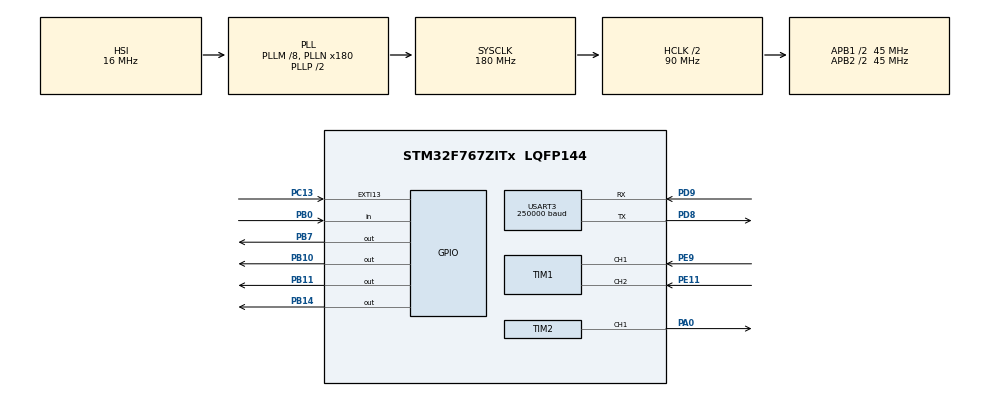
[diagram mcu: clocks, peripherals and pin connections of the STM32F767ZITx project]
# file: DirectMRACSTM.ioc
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CORTEX_M7.default_mode_Activation=1
FREERTOS.Mutexes01=measureMutex,Dynamic,NULL,Available;controlMutex,Dynamic,NULL,Available;publish_mutex,Dynamic,NULL,Available
FREERTOS.Tasks01=measureTask,24,512,measure,Default,NULL,Dynamic,NULL,NULL;Control,8,1024,controlLoop,Default,NULL,Dynamic,NULL,NULL;publish,8,1024,publish_data,Default,NULL,Dynamic,NULL,NULL
FREERTOS.configENABLE_FPU=1
Mcu.Family=STM32F7
Mcu.Name=STM32F767ZITx
Mcu.Package=LQFP144
NVIC.PriorityGroup=NVIC_PRIORITYGROUP_4
NVIC.TIM5_IRQn=true\:15\:0\:false\:false\:true\:false\:false\:true\:true
NVIC.TimeBase=TIM5_IRQn
NVIC.TimeBaseIP=TIM5
PA0/WKUP.Signal=S_TIM2_CH1_ETR
PA13.Mode=Serial_Wire
PA13.Signal=SYS_JTMS-SWDIO
PA14.Mode=Serial_Wire
PA14.Signal=SYS_JTCK-SWCLK
PB0.Signal=GPIO_Input
PB10.Signal=GPIO_Output
PB11.Signal=GPIO_Output
PB14.Signal=GPIO_Output
PB7.Signal=GPIO_Output
PC13.Signal=GPXTI13
PD8.Mode=Asynchronous
PD8.Signal=USART3_TX
PD9.Mode=Asynchronous
PD9.Signal=USART3_RX
PE11.Signal=S_TIM1_CH2
PE9.Signal=S_TIM1_CH1
ProjectManager.HeapSize=0x200
ProjectManager.StackSize=0x400
ProjectManager.TargetToolchain=CMake
RCC.AHBCLKDivider=RCC_SYSCLK_DIV2
RCC.AHBFreq_Value=90000000
RCC.APB1CLKDivider=RCC_HCLK_DIV2
RCC.APB1Freq_Value=45000000
RCC.APB1TimFreq_Value=90000000
RCC.APB2CLKDivider=RCC_HCLK_DIV2
RCC.APB2Freq_Value=45000000
RCC.APB2TimFreq_Value=90000000
RCC.CortexFreq_Value=90000000
RCC.HCLKFreq_Value=90000000
RCC.HSE_VALUE=25000000
RCC.HSI_VALUE=16000000
RCC.LSE_VALUE=32768
RCC.PLLM=8
RCC.PLLN=180
RCC.SYSCLKFreq_VALUE=180000000
RCC.SYSCLKSource=RCC_SYSCLKSOURCE_PLLCLK
RCC.USBFreq_Value=180000000
RCC.VCOOutputFreq_Value=360000000
SH.S_TIM1_CH1.0=TIM1_CH1,Encoder_Interface
SH.S_TIM1_CH2.0=TIM1_CH2,Encoder_Interface
SH.S_TIM2_CH1_ETR.0=TIM2_CH1,PWM Generation1 CH1
TIM1.EncoderMode=TIM_ENCODERMODE_TI12
TIM2.Channel-PWM\ Generation1\ CH1=TIM_CHANNEL_1
TIM2.Period=999
TIM2.Prescaler=89
USART3.BaudRate=250000
USART3.VirtualMode-Asynchronous=VM_ASYNC
VP_FREERTOS_VS_CMSIS_V2.Mode=CMSIS_V2
VP_SYS_VS_tim5.Mode=TIM5
board=custom

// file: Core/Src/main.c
/* USER CODE BEGIN Header */
/**
  ******************************************************************************
  * @file           : main.c
  * @brief          : Main program body
  ******************************************************************************
  * @attention
  *
  * Copyright (c) 2026 STMicroelectronics.
  * All rights reserved.
  *
  * This software is licensed under terms that can be found in the LICENSE file
  * in the root directory of this software component.
  * If no LICENSE file comes with this software, it is provided AS-IS.
  *
  ******************************************************************************
  */
/* USER CODE END Header */
#include "main.h"
#include "cmsis_os.h"

/* USER CODE BEGIN Includes */
#include "controller.h"
#include "portmacro.h"
#include "serial_com.h"
#include <stdio.h>
#include <string.h>
#include <stdlib.h>
#include <stdbool.h>
#include "MRAC.h"
/* USER CODE END Includes */

/* USER CODE BEGIN PTD */
serial_com com;
filter spf;
filter opf;
filter upf;
float setpoint = 60.0f;
float dt = 0.001f;
float _time = 0.0f;
char msg[100];
bool publish_flag = false;
float setpoint_time = 0.0f;
float setpoint_period = 2.0f; // 0.5 Hz = 2 second period
uint64_t actual_dt = 0;
MRAC mrac;
TF_model P_ref;
/* USER CODE END PTD */

TIM_HandleTypeDef htim1;
TIM_HandleTypeDef htim2;

UART_HandleTypeDef huart3;

/* Definitions for measureTask */
osThreadId_t measureTaskHandle;
const osThreadAttr_t measureTask_attributes = {
  .name = "measureTask",
  .stack_size = 512 * 4,
  .priority = (osPriority_t) osPriorityNormal,
};
/* Definitions for Control */
osThreadId_t ControlHandle;
const osThreadAttr_t Control_attributes = {
  .name = "Control",
  .stack_size = 1024 * 4,
  .priority = (osPriority_t) osPriorityLow,
};
/* Definitions for publish */
osThreadId_t publishHandle;
const osThreadAttr_t publish_attributes = {
  .name = "publish",
  .stack_size = 1024 * 4,
  .priority = (osPriority_t) osPriorityLow,
};
/* Definitions for measureMutex */
osMutexId_t measureMutexHandle;
const osMutexAttr_t measureMutex_attributes = {
  .name = "measureMutex"
};
/* Definitions for controlMutex */
osMutexId_t controlMutexHandle;
const osMutexAttr_t controlMutex_attributes = {
  .name = "controlMutex"
};
/* Definitions for publish_mutex */
osMutexId_t publish_mutexHandle;
const osMutexAttr_t publish_mutex_attributes = {
  .name = "publish_mutex"
};
/* USER CODE BEGIN PV */
int32_t enc = 0;
float rpm = 0;
/* USER CODE END PV */

void SystemClock_Config(void);
static void MPU_Config(void);
static void MX_GPIO_Init(void);
static void MX_TIM1_Init(void);
static void MX_USART3_UART_Init(void);
static void MX_TIM2_Init(void);
void measure(void *argument);
void controlLoop(void *argument);
void publish_data(void *argument);

/* USER CODE BEGIN 0 */
void move_motor(float duty)
{
  uint32_t pwm = (duty >= 0.0f) ? (uint32_t)duty : (uint32_t)(-duty);
  if (pwm > htim2.Init.Period)
  {
    pwm = htim2.Init.Period;
  }

  __HAL_TIM_SET_COMPARE(&htim2, TIM_CHANNEL_1, pwm);

  if (duty >= 0.0f)
  {
    HAL_GPIO_WritePin(GPIOB, GPIO_PIN_7, GPIO_PIN_SET);
    HAL_GPIO_WritePin(GPIOB, GPIO_PIN_14, GPIO_PIN_RESET);
    HAL_GPIO_WritePin(GPIOB, GPIO_PIN_10, GPIO_PIN_SET);
    HAL_GPIO_WritePin(GPIOB, GPIO_PIN_11, GPIO_PIN_RESET);
  }
  else
  {
    HAL_GPIO_WritePin(GPIOB, GPIO_PIN_7, GPIO_PIN_RESET);
    HAL_GPIO_WritePin(GPIOB, GPIO_PIN_14, GPIO_PIN_SET);
    HAL_GPIO_WritePin(GPIOB, GPIO_PIN_10, GPIO_PIN_RESET);
    HAL_GPIO_WritePin(GPIOB, GPIO_PIN_11, GPIO_PIN_SET);
  }
}
void stop_motor()
{
  __HAL_TIM_SET_COMPARE(&htim2, TIM_CHANNEL_1, 0);
  HAL_GPIO_WritePin(GPIOB, GPIO_PIN_7, GPIO_PIN_RESET);
  HAL_GPIO_WritePin(GPIOB, GPIO_PIN_14, GPIO_PIN_RESET);
  HAL_GPIO_WritePin(GPIOB, GPIO_PIN_10, GPIO_PIN_RESET);
  HAL_GPIO_WritePin(GPIOB, GPIO_PIN_11, GPIO_PIN_RESET);
}

/* USER CODE END 0 */

int main(void)
{

  /* MPU Configuration--------------------------------------------------------*/
  MPU_Config();

  /* MCU Configuration--------------------------------------------------------*/

  /* Reset of all peripherals, Initializes the Flash interface and the Systick. */
  HAL_Init();

  /* USER CODE BEGIN Init */
  filter_init(&spf, 0.1f); // Set tau for setpoint filter
  filter_init(&opf, 0.1f); // Set tau for output filter
  filter_init(&upf, 0.1f); // Set tau for control signal filter
  reset_filter(&spf);
  reset_filter(&opf);
  reset_filter(&upf);
  TF_model_init(&P_ref, 0.5f, dt); // Initialize reference model with tau = 0.1s and dt
  MRAC_init(&mrac, &P_ref, setpoint, 0.5f, -10.0f, 10.0f, dt, 9999, -9999);
  /* USER CODE END Init */

  /* Configure the system clock */
  SystemClock_Config();

  /* Initialize all configured peripherals */
  MX_GPIO_Init();
  MX_TIM1_Init();
  MX_USART3_UART_Init();
  MX_TIM2_Init();
  /* USER CODE BEGIN 2 */
  serial_init(&com, &huart3);
  HAL_TIM_Encoder_Start(&htim1, TIM_CHANNEL_ALL);
  __HAL_TIM_SET_COUNTER(&htim1, 0);
  HAL_TIM_PWM_Start(&htim2, TIM_CHANNEL_1);
  /* USER CODE END 2 */

  /* Init scheduler */
  osKernelInitialize();
  /* Create the mutex(es) */
  /* creation of measureMutex */
  measureMutexHandle = osMutexNew(&measureMutex_attributes);

  /* creation of controlMutex */
  controlMutexHandle = osMutexNew(&controlMutex_attributes);

  /* creation of publish_mutex */
  publish_mutexHandle = osMutexNew(&publish_mutex_attributes);

  /* Create the thread(s) */
  /* creation of measureTask */
  measureTaskHandle = osThreadNew(measure, NULL, &measureTask_attributes);

  /* creation of Control */
  ControlHandle = osThreadNew(controlLoop, NULL, &Control_attributes);

  /* creation of publish */
  publishHandle = osThreadNew(publish_data, NULL, &publish_attributes);

  /* Start scheduler */
  osKernelStart();

  /* We should never get here as control is now taken by the scheduler */

  /* Infinite loop */
  while (1)
  {

  }
}

void SystemClock_Config(void)
{
  RCC_OscInitTypeDef RCC_OscInitStruct = {0};
  RCC_ClkInitTypeDef RCC_ClkInitStruct = {0};

  /** Configure the main internal regulator output voltage
  */
  __HAL_RCC_PWR_CLK_ENABLE();
  __HAL_PWR_VOLTAGESCALING_CONFIG(PWR_REGULATOR_VOLTAGE_SCALE3);

  /** Initializes the RCC Oscillators according to the specified parameters
  * in the RCC_OscInitTypeDef structure.
  */
  RCC_OscInitStruct.OscillatorType = RCC_OSCILLATORTYPE_HSI;
  RCC_OscInitStruct.HSIState = RCC_HSI_ON;
  RCC_OscInitStruct.HSICalibrationValue = RCC_HSICALIBRATION_DEFAULT;
  RCC_OscInitStruct.PLL.PLLState = RCC_PLL_ON;
  RCC_OscInitStruct.PLL.PLLSource = RCC_PLLSOURCE_HSI;
  RCC_OscInitStruct.PLL.PLLM = 8;
  RCC_OscInitStruct.PLL.PLLN = 180;
  RCC_OscInitStruct.PLL.PLLP = RCC_PLLP_DIV2;
  RCC_OscInitStruct.PLL.PLLQ = 2;
  RCC_OscInitStruct.PLL.PLLR = 2;
  if (HAL_RCC_OscConfig(&RCC_OscInitStruct) != HAL_OK)
  {
    Error_Handler();
  }

  /** Initializes the CPU, AHB and APB buses clocks
  */
  RCC_ClkInitStruct.ClockType = RCC_CLOCKTYPE_HCLK|RCC_CLOCKTYPE_SYSCLK
                              |RCC_CLOCKTYPE_PCLK1|RCC_CLOCKTYPE_PCLK2;
  RCC_ClkInitStruct.SYSCLKSource = RCC_SYSCLKSOURCE_PLLCLK;
  RCC_ClkInitStruct.AHBCLKDivider = RCC_SYSCLK_DIV2;
  RCC_ClkInitStruct.APB1CLKDivider = RCC_HCLK_DIV2;
  RCC_ClkInitStruct.APB2CLKDivider = RCC_HCLK_DIV2;

  if (HAL_RCC_ClockConfig(&RCC_ClkInitStruct, FLASH_LATENCY_2) != HAL_OK)
  {
    Error_Handler();
  }
}

static void MX_TIM1_Init(void)
{

  TIM_Encoder_InitTypeDef sConfig = {0};
  TIM_MasterConfigTypeDef sMasterConfig = {0};

  htim1.Instance = TIM1;
  htim1.Init.Prescaler = 0;
  htim1.Init.CounterMode = TIM_COUNTERMODE_UP;
  htim1.Init.Period = 65535;
  htim1.Init.ClockDivision = TIM_CLOCKDIVISION_DIV1;
  htim1.Init.RepetitionCounter = 0;
  htim1.Init.AutoReloadPreload = TIM_AUTORELOAD_PRELOAD_DISABLE;
  sConfig.EncoderMode = TIM_ENCODERMODE_TI12;
  sConfig.IC1Polarity = TIM_ICPOLARITY_RISING;
  sConfig.IC1Selection = TIM_ICSELECTION_DIRECTTI;
  sConfig.IC1Prescaler = TIM_ICPSC_DIV1;
  sConfig.IC1Filter = 0;
  sConfig.IC2Polarity = TIM_ICPOLARITY_RISING;
  sConfig.IC2Selection = TIM_ICSELECTION_DIRECTTI;
  sConfig.IC2Prescaler = TIM_ICPSC_DIV1;
  sConfig.IC2Filter = 0;
  if (HAL_TIM_Encoder_Init(&htim1, &sConfig) != HAL_OK)
  {
    Error_Handler();
  }
  sMasterConfig.MasterOutputTrigger = TIM_TRGO_RESET;
  sMasterConfig.MasterOutputTrigger2 = TIM_TRGO2_RESET;
  sMasterConfig.MasterSlaveMode = TIM_MASTERSLAVEMODE_DISABLE;
  if (HAL_TIMEx_MasterConfigSynchronization(&htim1, &sMasterConfig) != HAL_OK)
  {
    Error_Handler();
  }

}

static void MX_TIM2_Init(void)
{

  TIM_MasterConfigTypeDef sMasterConfig = {0};
  TIM_OC_InitTypeDef sConfigOC = {0};

  htim2.Instance = TIM2;
  htim2.Init.Prescaler = 89;
  htim2.Init.CounterMode = TIM_COUNTERMODE_UP;
  htim2.Init.Period = 999;
  htim2.Init.ClockDivision = TIM_CLOCKDIVISION_DIV1;
  htim2.Init.AutoReloadPreload = TIM_AUTORELOAD_PRELOAD_DISABLE;
  if (HAL_TIM_PWM_Init(&htim2) != HAL_OK)
  {
    Error_Handler();
  }
  sMasterConfig.MasterOutputTrigger = TIM_TRGO_RESET;
  sMasterConfig.MasterSlaveMode = TIM_MASTERSLAVEMODE_DISABLE;
  if (HAL_TIMEx_MasterConfigSynchronization(&htim2, &sMasterConfig) != HAL_OK)
  {
    Error_Handler();
  }
  sConfigOC.OCMode = TIM_OCMODE_PWM1;
  sConfigOC.Pulse = 0;
  sConfigOC.OCPolarity = TIM_OCPOLARITY_HIGH;
  sConfigOC.OCFastMode = TIM_OCFAST_DISABLE;
  if (HAL_TIM_PWM_ConfigChannel(&htim2, &sConfigOC, TIM_CHANNEL_1) != HAL_OK)
  {
    Error_Handler();
  }
  HAL_TIM_MspPostInit(&htim2);

}

static void MX_USART3_UART_Init(void)
{

  huart3.Instance = USART3;
  huart3.Init.BaudRate = 250000;
  huart3.Init.WordLength = UART_WORDLENGTH_8B;
  huart3.Init.StopBits = UART_STOPBITS_1;
  huart3.Init.Parity = UART_PARITY_NONE;
  huart3.Init.Mode = UART_MODE_TX_RX;
  huart3.Init.HwFlowCtl = UART_HWCONTROL_NONE;
  huart3.Init.OverSampling = UART_OVERSAMPLING_16;
  huart3.Init.OneBitSampling = UART_ONE_BIT_SAMPLE_DISABLE;
  huart3.AdvancedInit.AdvFeatureInit = UART_ADVFEATURE_NO_INIT;
  if (HAL_UART_Init(&huart3) != HAL_OK)
  {
    Error_Handler();
  }

}

static void MX_GPIO_Init(void)
{
  GPIO_InitTypeDef GPIO_InitStruct = {0};

  /* GPIO Ports Clock Enable */
  __HAL_RCC_GPIOC_CLK_ENABLE();
  __HAL_RCC_GPIOA_CLK_ENABLE();
  __HAL_RCC_GPIOB_CLK_ENABLE();
  __HAL_RCC_GPIOE_CLK_ENABLE();
  __HAL_RCC_GPIOD_CLK_ENABLE();

  /*Configure GPIO pin Output Level */
  HAL_GPIO_WritePin(GPIOB, GPIO_PIN_10|GPIO_PIN_11|GPIO_PIN_14|GPIO_PIN_7, GPIO_PIN_RESET);

  /*Configure GPIO pin : PC13 */
  GPIO_InitStruct.Pin = GPIO_PIN_13;
  GPIO_InitStruct.Mode = GPIO_MODE_IT_RISING;
  GPIO_InitStruct.Pull = GPIO_NOPULL;
  HAL_GPIO_Init(GPIOC, &GPIO_InitStruct);

  /*Configure GPIO pin : PB0 */
  GPIO_InitStruct.Pin = GPIO_PIN_0;
  GPIO_InitStruct.Mode = GPIO_MODE_INPUT;
  GPIO_InitStruct.Pull = GPIO_NOPULL;
  HAL_GPIO_Init(GPIOB, &GPIO_InitStruct);

  /*Configure GPIO pins : PB10 PB11 PB14 PB7 */
  GPIO_InitStruct.Pin = GPIO_PIN_10|GPIO_PIN_11|GPIO_PIN_14|GPIO_PIN_7;
  GPIO_InitStruct.Mode = GPIO_MODE_OUTPUT_PP;
  GPIO_InitStruct.Pull = GPIO_NOPULL;
  GPIO_InitStruct.Speed = GPIO_SPEED_FREQ_LOW;
  HAL_GPIO_Init(GPIOB, &GPIO_InitStruct);

}

void measure(void *argument)
{
  /* USER CODE BEGIN 5 */
  /* Infinite loop */
  int32_t prev_enc = 0;
  const float sample_time_s = dt; // 10 ms sampling period
  const float pulses_per_rev = 4800.0f;
  /* Infinite loop */
  for (;;)
  {
    int32_t current_enc = (int32_t)__HAL_TIM_GET_COUNTER(&htim1);
    int32_t delta = current_enc - prev_enc;

    // Correct delta around 16-bit wrap-around.
    if (delta > 32767)
    {
      delta -= 65536;
    }
    else if (delta < -32768)
    {
      delta += 65536;
    }
    prev_enc = current_enc;

    if (osMutexAcquire(measureMutexHandle, osWaitForever) == osOK)
    {
      enc = current_enc;
      rpm = ((float)delta / pulses_per_rev) * (60.0f / sample_time_s);
      rpm = apply_filter(&opf, rpm);
      osMutexRelease(measureMutexHandle);
    }
    osDelay((uint32_t)(dt * 1000)); // Delay for 10 ms
  }
  /* USER CODE END 5 */
}

void controlLoop(void *argument)
{
  /* USER CODE BEGIN controlLoop */
  /* Infinite loop */
  TickType_t last_wake_time = xTaskGetTickCount();
  for (;;) {
    if (osMutexAcquire(measureMutexHandle, osWaitForever) == osOK)
    {
      mrac.e = TF_model_step(&P_ref, setpoint) - rpm; // Setpoint - Measurement
      osMutexRelease(measureMutexHandle);
    }
    if (osMutexAcquire(controlMutexHandle, osWaitForever) == osOK)
    {
      mrac.u = MRAC_update(&mrac, rpm);
      osMutexRelease(controlMutexHandle);
      _time = _time + dt;
      setpoint_time += dt;
      if (setpoint_time >= setpoint_period) {
        setpoint_time = 0.0f;
        setpoint = (setpoint == 60.0f) ? 100.0f : 60.0f;
        MRAC_set_reference(&mrac, setpoint);
      }
    }
    move_motor(mrac.u);
    actual_dt = (uint64_t)(xTaskGetTickCount() - last_wake_time);
    last_wake_time = xTaskGetTickCount();
    osDelay((uint32_t)(dt * 1000)); // Delay for 10 ms
  }
  /* USER CODE END controlLoop */
}

void publish_data(void *argument)
{
  /* USER CODE BEGIN publish_data */
  int32_t enc_snapshot = 0;
  float rpm_snapshot = 0.0f;
  float time_snapshot = 0.0f;
  MRAC local_mrac;
  local_mrac= mrac; // Take a snapshot of the current MRAC controller state
  /* Infinite loop */
  for (;;)
  {
    if (osMutexAcquire(measureMutexHandle, osWaitForever) == osOK)
    {
      enc_snapshot = enc;
      rpm_snapshot = rpm;

      osMutexRelease(measureMutexHandle);
    }
    if (osMutexAcquire(controlMutexHandle, osWaitForever) == osOK)
    {
      time_snapshot = _time;
      local_mrac = mrac; // Update local snapshot of MRAC controller
      osMutexRelease(controlMutexHandle);
    }
    if (osMutexAcquire(publish_mutexHandle, osWaitForever) == osOK)
    {
      publish_flag = false; // Clear publish flag after taking snapshot
      snprintf((char *)com.buffer, sizeof(com.buffer),
               "%.3f,%.2f,%.2f,%.2f,%.2f,%.2f,%.2f\n", _time, local_mrac.xm,
               local_mrac.x, local_mrac.e,
               local_mrac.u / htim2.Init.Period * 100.0f, local_mrac.Kx_hat, local_mrac.Kr_hat);
      osMutexRelease(publish_mutexHandle);
    }

    serial_print(&com, (char *)com.buffer);

    osDelay(100);
  }
  /* USER CODE END publish_data */
}

 /* MPU Configuration */

void MPU_Config(void)
{
  MPU_Region_InitTypeDef MPU_InitStruct = {0};

  /* Disables the MPU */
  HAL_MPU_Disable();

  /** Initializes and configures the Region and the memory to be protected
  */
  MPU_InitStruct.Enable = MPU_REGION_ENABLE;
  MPU_InitStruct.Number = MPU_REGION_NUMBER0;
  MPU_InitStruct.BaseAddress = 0x0;
  MPU_InitStruct.Size = MPU_REGION_SIZE_4GB;
  MPU_InitStruct.SubRegionDisable = 0x87;
  MPU_InitStruct.TypeExtField = MPU_TEX_LEVEL0;
  MPU_InitStruct.AccessPermission = MPU_REGION_NO_ACCESS;
  MPU_InitStruct.DisableExec = MPU_INSTRUCTION_ACCESS_DISABLE;
  MPU_InitStruct.IsShareable = MPU_ACCESS_SHAREABLE;
  MPU_InitStruct.IsCacheable = MPU_ACCESS_NOT_CACHEABLE;
  MPU_InitStruct.IsBufferable = MPU_ACCESS_NOT_BUFFERABLE;

  HAL_MPU_ConfigRegion(&MPU_InitStruct);
  /* Enables the MPU */
  HAL_MPU_Enable(MPU_PRIVILEGED_DEFAULT);

}

void HAL_TIM_PeriodElapsedCallback(TIM_HandleTypeDef *htim)
{
  if (htim->Instance == TIM5)
  {
    HAL_IncTick();
  }
}

void Error_Handler(void)
{
  __disable_irq();
  while (1)
  {
  }
}
